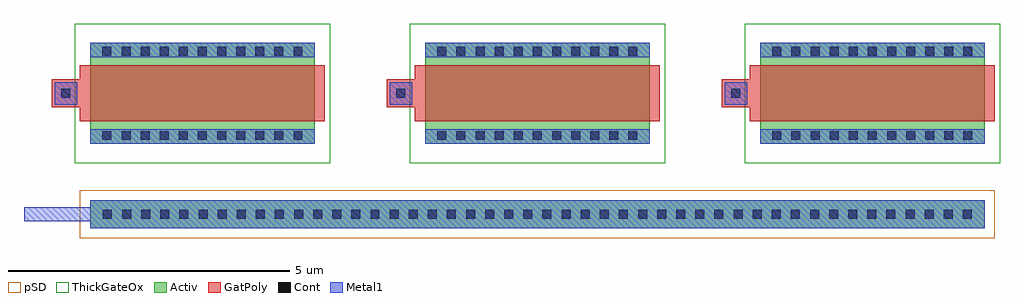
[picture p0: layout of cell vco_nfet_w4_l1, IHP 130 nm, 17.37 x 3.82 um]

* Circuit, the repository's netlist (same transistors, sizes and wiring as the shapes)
* extracted by klt extract --deck sg13cmos5l

* cell vco_nfet_w4_l1
* pin vsubs
.SUBCKT vco_nfet_w4_l1 vsubs
* device instance $1 r0 *1 3.3,3.36 nfet
X$1 \$8 \$2 \$3 vsubs sg13_hv_nmos L=1U W=4U AS=1.6P AD=1.6P PS=8.8U PD=8.8U
* device instance $2 r0 *1 9.26,3.36 nfet
X$2 \$9 \$4 \$5 vsubs sg13_hv_nmos L=1U W=4U AS=1.6P AD=1.6P PS=8.8U PD=8.8U
* device instance $3 r0 *1 15.22,3.36 nfet
X$3 \$10 \$6 \$7 vsubs sg13_hv_nmos L=1U W=4U AS=1.6P AD=1.6P PS=8.8U PD=8.8U
.ENDS vco_nfet_w4_l1

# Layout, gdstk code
import gdstk
lib = gdstk.Library(unit=1e-6, precision=1e-09)
def R(c, l, rs):  # rectangles x0, y0, x1, y1
    for r in rs: c.add(gdstk.rectangle(r[:2], r[2:], *l))
def A(c, l, x, y, w, h, nx, ny, dx, dy):  # array of equal rectangles
    R(c, l, [(x+i*dx, y+j*dy, x+i*dx+w, y+j*dy+h) for i in range(nx) for j in range(ny)])
Activ = (1, 0)
GatPoly = (5, 0)
Cont = (6, 0)
Metal1 = (8, 0)
pSD = (14, 0)
ThickGateOx = (44, 0)

vco_nfet_w4_l1 = lib.new_cell('vco_nfet_w4_l1')
A(vco_nfet_w4_l1, Activ, 1.3, 2.46, 4, 1.8, 3, 1, 5.96, 0)
R(vco_nfet_w4_l1, Activ, [(1.3,0.96,17.22,1.46)])
A(vco_nfet_w4_l1, GatPoly, 1.12, 2.86, 4.36, 1, 3, 1, 5.96, 0)
A(vco_nfet_w4_l1, GatPoly, 0.62, 3.11, 0.5, 0.5, 3, 1, 5.96, 0)
A(vco_nfet_w4_l1, Cont, 1.53, 1.13, 0.16, 0.16, 46, 1, 0.34, 0)
A(vco_nfet_w4_l1, Cont, 1.52, 2.53, 0.16, 0.16, 11, 2, 0.34, 1.5)
A(vco_nfet_w4_l1, Cont, 7.48, 2.53, 0.16, 0.16, 11, 2, 0.34, 1.5)
A(vco_nfet_w4_l1, Cont, 13.44, 2.53, 0.16, 0.16, 11, 2, 0.34, 1.5)
A(vco_nfet_w4_l1, Cont, 0.79, 3.28, 0.16, 0.16, 3, 1, 5.96, 0)
A(vco_nfet_w4_l1, Metal1, 1.3, 2.46, 4, 0.26, 3, 2, 5.96, 1.54)
A(vco_nfet_w4_l1, Metal1, 0.67, 3.16, 0.4, 0.4, 3, 1, 5.96, 0)
R(vco_nfet_w4_l1, Metal1, [(1.3,0.96,17.22,1.46), (0.125,1.085,1.3,1.335)])
R(vco_nfet_w4_l1, pSD, [(1.12,0.78,17.4,1.64)])
A(vco_nfet_w4_l1, ThickGateOx, 1.03, 2.12, 4.54, 2.48, 3, 1, 5.96, 0)

lib.write_gds('vco_nfet_w4_l1.gds')
